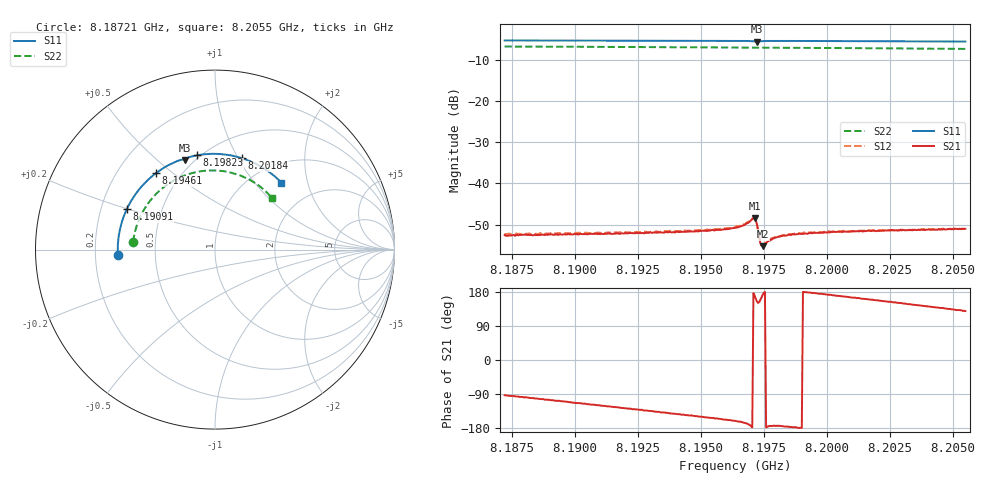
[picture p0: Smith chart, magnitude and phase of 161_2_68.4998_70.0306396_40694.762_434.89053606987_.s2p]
#  HZ  S  RI  R  50.00
! Rohde & Schwarz Vector Network Analyzer
! Rohde-Schwarz,ZNB20-2Port,1311601062101988,3.16
! Created: UTC 3/20/2024, 4:55:48 PM
! freq[Hz]  re:S11  im:S11  re:S21  im:S21  re:S12  im:S12  re:S22  im:S22
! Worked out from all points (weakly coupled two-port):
!   401 points, 8.18721 GHz to 8.2055 GHz, reference 50 ohm
!   highest |S21| = -48.52 dB at 8.19713 GHz (marker M1); lowest = -55.3 dB at 8.19745 GHz (marker M2)
!   lowest |S11| = -5.6 dB at 8.19722 GHz (marker M3), VSWR 3.20, Z = 22.6 + j30.9 ohm
!   |S11| at or under -10 dB: nowhere
!   |S22| runs from -7.4 to -6.8 dB; largest |S21 - S12| = 0.0002
!   S11 on the Smith chart (normalised r, x): 8.18721 GHz: 0.30, -0.02; 8.19091 GHz: 0.31, +0.20; 8.19461 GHz: 0.36, +0.44; 8.19823 GHz: 0.48, +0.71; 8.20184 GHz: 0.73, +1.04; 8.2055 GHz: 1.35, +1.39
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8.187208e9  -0.5413 -0.0278  -0.000114 -0.00235  -0.000193 -0.00241  -0.4555 0.0429
8.188762e9  -0.5355 0.0807  -0.000564 -0.0023  -0.00067 -0.00238  -0.4379 0.127
8.190271e9  -0.509 0.1829  -0.00101 -0.0022  -0.00111 -0.00225  -0.4058 0.2041
8.190911e9  -0.4917 0.2244  -0.00118 -0.00211  -0.00128 -0.00216  -0.3879 0.2348
8.193335e9  -0.3969 0.365  -0.00185 -0.00173  -0.00195 -0.00167  -0.3 0.336
8.194615e9  -0.33 0.4253  -0.00216 -0.00145  -0.00226 -0.00134  -0.242 0.3777
8.196352e9  -0.2236 0.4877  -0.00272 -0.00095  -0.0028 -0.000886  -0.154 0.4184
8.196673e9  -0.2015 0.4963  -0.00296 -0.000805  -0.00308 -0.00071  -0.1369 0.4237
8.197038e9  -0.1733 0.5017  -0.00367 -0.000127  -0.00374 5.46e-05  -0.1168 0.429
8.19713e9  -0.1668 0.4994  -0.0037 0.00061  -0.00375 0.000802  -0.1119 0.43
8.197176e9  -0.1654 0.4977  -0.00342 0.00111  -0.00342 0.00126  -0.1095 0.4305
8.197221e9  -0.1657 0.4968  -0.0029 0.00136  -0.00287 0.00152  -0.107 0.431
8.197358e9  -0.1637 0.5038  -0.00175 0.000689  -0.00176 0.000821  -0.0998 0.4328
8.197404e9  -0.1608 0.5064  -0.00168 0.000461  -0.00175 0.000515  -0.0972 0.4333
8.19745e9  -0.1577 0.5087  -0.00171 0.000237  -0.00175 0.000325  -0.0946 0.4339
8.197541e9  -0.1512 0.512  -0.00181 1.45e-05  -0.00188 9.38e-05  -0.0897 0.4347
8.197861e9  -0.1277 0.5196  -0.00212 -0.000229  -0.00217 -0.000148  -0.0716 0.4374
8.198227e9  -0.1015 0.5252  -0.0023 -0.000204  -0.00232 -0.000115  -0.0511 0.4396
8.199416e9  -0.0172 0.5337  -0.00247 0.000145  -0.00251 0.000229  0.0161 0.4403
8.201839e9  0.1518 0.5089  -0.00248 0.000975  -0.00245 0.00109  0.1498 0.4094
8.20248e9  0.1943 0.4932  -0.00241 0.00119  -0.00238 0.00129  0.1832 0.3941
8.205497e9  0.3697 0.3736  -0.00177 0.00218  -0.00173 0.00225  0.3189 0.2858
